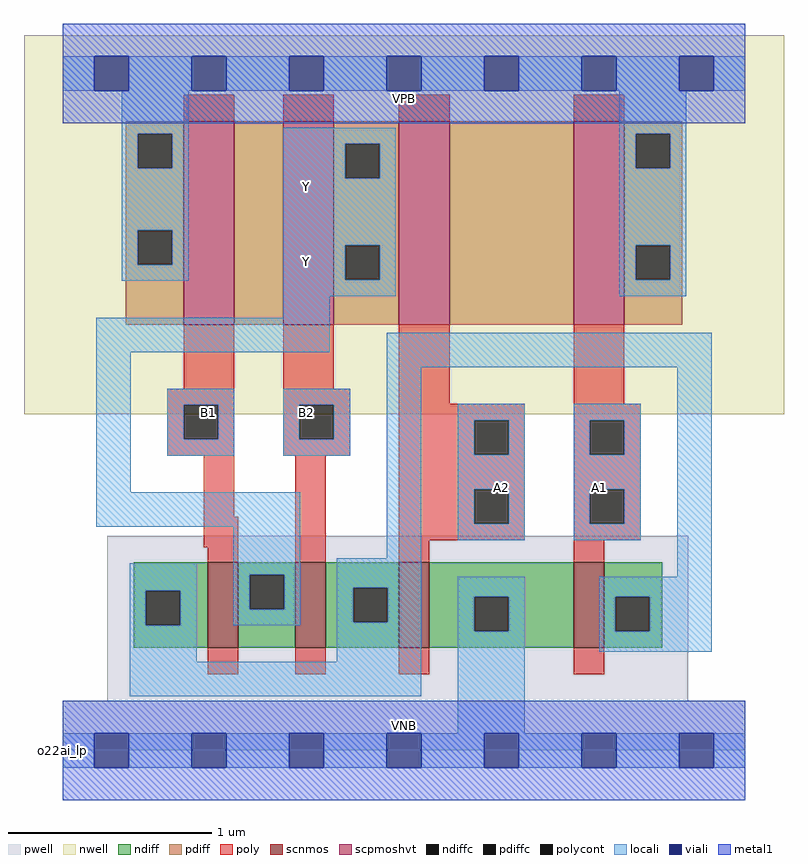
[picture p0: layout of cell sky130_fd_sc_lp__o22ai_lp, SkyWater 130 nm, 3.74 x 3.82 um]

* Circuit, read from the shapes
.subckt sky130_fd_sc_lp__o22ai_lp A1 A2 B1 B2 VGND VNB VPB VPWR Y
XM1 Y B1 n1 VNB sky130_fd_pr__nfet_01v8 w=0.42 l=0.15
XM2 n1 B2 Y VNB sky130_fd_pr__nfet_01v8 w=0.42 l=0.15
XM3 VGND A2 n1 VNB sky130_fd_pr__nfet_01v8 w=0.42 l=0.15
XM4 n1 A1 VGND VNB sky130_fd_pr__nfet_01v8 w=0.42 l=0.15
XM5 n2 B1 VPWR VPB sky130_fd_pr__pfet_01v8_hvt w=1 l=0.25
XM6 Y B2 n2 VPB sky130_fd_pr__pfet_01v8_hvt w=1 l=0.25
XM7 n3 A2 Y VPB sky130_fd_pr__pfet_01v8_hvt w=1 l=0.25
XM8 VPWR A1 n3 VPB sky130_fd_pr__pfet_01v8_hvt w=1 l=0.25
.ends

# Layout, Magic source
magic
tech sky130A
magscale 1 2
<< nwell >>
rect -38 331 710 704
<< pwell >>
rect 44 49 616 211
rect 0 0 672 49
<< scnmos >>
rect 143 101 173 185
rect 229 101 259 185
rect 331 101 361 185
rect 503 101 533 185
<< scpmoshvt >>
rect 119 419 169 619
rect 217 419 267 619
rect 331 419 381 619
rect 503 419 553 619
<< ndiff >>
rect 70 157 143 185
rect 70 123 82 157
rect 116 123 143 157
rect 70 101 143 123
rect 173 173 229 185
rect 173 139 184 173
rect 218 139 229 173
rect 173 101 229 139
rect 259 160 331 185
rect 259 126 286 160
rect 320 126 331 160
rect 259 101 331 126
rect 361 151 503 185
rect 361 117 405 151
rect 439 117 503 151
rect 361 101 503 117
rect 533 151 590 185
rect 533 117 544 151
rect 578 117 590 151
rect 533 101 590 117
<< pdiff >>
rect 62 607 119 619
rect 62 573 74 607
rect 108 573 119 607
rect 62 512 119 573
rect 62 478 74 512
rect 108 478 119 512
rect 62 419 119 478
rect 169 419 217 619
rect 267 597 331 619
rect 267 563 278 597
rect 312 563 331 597
rect 267 497 331 563
rect 267 463 278 497
rect 312 463 331 497
rect 267 419 331 463
rect 381 419 503 619
rect 553 607 610 619
rect 553 573 564 607
rect 598 573 610 607
rect 553 497 610 573
rect 553 463 564 497
rect 598 463 610 497
rect 553 419 610 463
<< ndiffc >>
rect 82 123 116 157
rect 184 139 218 173
rect 286 126 320 160
rect 405 117 439 151
rect 544 117 578 151
<< pdiffc >>
rect 74 573 108 607
rect 74 478 108 512
rect 278 563 312 597
rect 278 463 312 497
rect 564 573 598 607
rect 564 463 598 497
<< poly >>
rect 119 619 169 645
rect 217 619 267 645
rect 331 619 381 645
rect 503 619 553 645
rect 119 356 169 419
rect 103 340 169 356
rect 103 306 119 340
rect 153 306 169 340
rect 103 290 169 306
rect 217 356 267 419
rect 217 340 283 356
rect 217 306 233 340
rect 267 306 283 340
rect 217 290 283 306
rect 331 341 381 419
rect 503 341 553 419
rect 331 325 455 341
rect 331 291 405 325
rect 439 291 455 325
rect 139 230 169 290
rect 139 200 173 230
rect 143 185 173 200
rect 229 185 259 290
rect 331 257 455 291
rect 331 223 405 257
rect 439 223 455 257
rect 331 207 455 223
rect 503 325 569 341
rect 503 291 519 325
rect 553 291 569 325
rect 503 257 569 291
rect 503 223 519 257
rect 553 223 569 257
rect 503 207 569 223
rect 331 185 361 207
rect 503 185 533 207
rect 143 75 173 101
rect 229 75 259 101
rect 331 75 361 101
rect 503 75 533 101
<< polycont >>
rect 119 306 153 340
rect 233 306 267 340
rect 405 291 439 325
rect 405 223 439 257
rect 519 291 553 325
rect 519 223 553 257
<< locali >>
rect 0 649 31 683
rect 65 649 127 683
rect 161 649 223 683
rect 257 649 319 683
rect 353 649 415 683
rect 449 649 511 683
rect 545 649 607 683
rect 641 649 672 683
rect 58 607 124 649
rect 58 573 74 607
rect 108 573 124 607
rect 58 512 124 573
rect 58 478 74 512
rect 108 478 124 512
rect 58 462 124 478
rect 217 597 328 613
rect 217 563 278 597
rect 312 563 328 597
rect 217 497 328 563
rect 217 463 278 497
rect 312 463 328 497
rect 217 447 328 463
rect 548 607 614 649
rect 548 573 564 607
rect 598 573 614 607
rect 548 497 614 573
rect 548 463 564 497
rect 598 463 614 497
rect 548 447 614 463
rect 217 426 263 447
rect 33 392 263 426
rect 33 254 67 392
rect 319 377 639 411
rect 103 340 169 356
rect 103 306 119 340
rect 153 306 169 340
rect 103 290 169 306
rect 217 340 283 356
rect 217 306 233 340
rect 267 306 283 340
rect 217 290 283 306
rect 33 220 234 254
rect 66 157 132 184
rect 66 123 82 157
rect 116 123 132 157
rect 168 173 234 220
rect 319 189 353 377
rect 389 325 455 341
rect 389 291 405 325
rect 439 291 455 325
rect 389 257 455 291
rect 389 223 405 257
rect 439 223 455 257
rect 389 207 455 223
rect 503 325 569 341
rect 503 291 519 325
rect 553 291 569 325
rect 503 257 569 291
rect 503 223 519 257
rect 553 223 569 257
rect 503 207 569 223
rect 168 139 184 173
rect 218 139 234 173
rect 168 123 234 139
rect 270 160 353 189
rect 605 171 639 377
rect 270 126 286 160
rect 320 126 353 160
rect 66 87 132 123
rect 270 87 353 126
rect 66 53 353 87
rect 389 151 455 171
rect 389 117 405 151
rect 439 117 455 151
rect 389 17 455 117
rect 528 151 639 171
rect 528 117 544 151
rect 578 117 639 151
rect 528 97 639 117
rect 0 -17 31 17
rect 65 -17 127 17
rect 161 -17 223 17
rect 257 -17 319 17
rect 353 -17 415 17
rect 449 -17 511 17
rect 545 -17 607 17
rect 641 -17 672 17
<< viali >>
rect 31 649 65 683
rect 127 649 161 683
rect 223 649 257 683
rect 319 649 353 683
rect 415 649 449 683
rect 511 649 545 683
rect 607 649 641 683
rect 31 -17 65 17
rect 127 -17 161 17
rect 223 -17 257 17
rect 319 -17 353 17
rect 415 -17 449 17
rect 511 -17 545 17
rect 607 -17 641 17
<< metal1 >>
rect 0 683 672 715
rect 0 649 31 683
rect 65 649 127 683
rect 161 649 223 683
rect 257 649 319 683
rect 353 649 415 683
rect 449 649 511 683
rect 545 649 607 683
rect 641 649 672 683
rect 0 617 672 649
rect 0 17 672 49
rect 0 -17 31 17
rect 65 -17 127 17
rect 161 -17 223 17
rect 257 -17 319 17
rect 353 -17 415 17
rect 449 -17 511 17
rect 545 -17 607 17
rect 641 -17 672 17
rect 0 -49 672 -17
<< labels >>
flabel pwell s 0 0 672 49 0 FreeSans 200 0 0 0 VNB
port 6 nsew ground bidirectional
flabel nwell s 0 617 672 666 0 FreeSans 200 0 0 0 VPB
port 7 nsew power bidirectional
rlabel comment s 0 0 0 0 4 o22ai_lp
flabel metal1 s 0 617 672 666 0 FreeSans 340 0 0 0 VPWR
port 8 nsew power bidirectional
flabel metal1 s 0 0 672 49 0 FreeSans 340 0 0 0 VGND
port 5 nsew ground bidirectional
flabel locali s 223 464 257 498 0 FreeSans 340 0 0 0 Y
port 9 nsew signal output
flabel locali s 223 538 257 572 0 FreeSans 340 0 0 0 Y
port 9 nsew signal output
flabel locali s 223 316 257 350 0 FreeSans 340 0 0 0 B2
port 4 nsew signal input
flabel locali s 127 316 161 350 0 FreeSans 340 0 0 0 B1
port 3 nsew signal input
flabel locali s 415 242 449 276 0 FreeSans 340 0 0 0 A2
port 2 nsew signal input
flabel locali s 511 242 545 276 0 FreeSans 340 0 0 0 A1
port 1 nsew signal input
<< properties >>
string LEFsite unit
string LEFclass CORE
string FIXED_BBOX 0 0 672 666
string GDS_FILE $PDKPATH/libs.ref/sky130_fd_sc_lp/gds/sky130_fd_sc_lp.gds
string LEFsymmetry X Y R90
string GDS_END 1316630
string GDS_START 1311188
<< end >>
